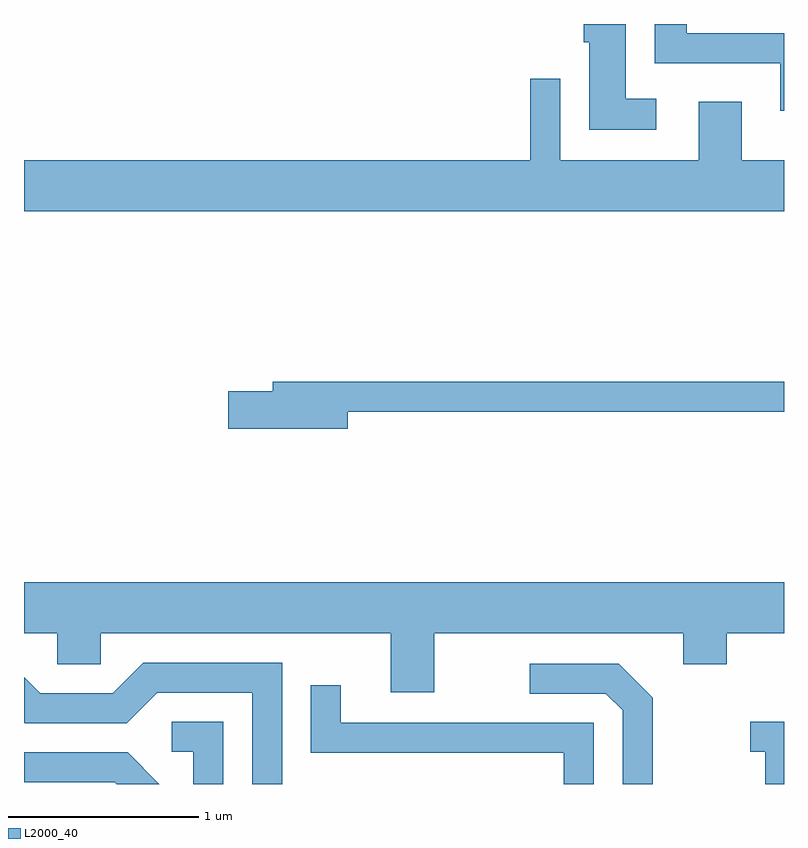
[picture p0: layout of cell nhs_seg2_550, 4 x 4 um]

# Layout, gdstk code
import gdstk
lib = gdstk.Library(unit=1e-6, precision=1e-09)
def P(c, l, *ps):  # polygons
    for p in ps: c.add(gdstk.Polygon(p, *l))
L2000_40 = (2000, 40)

nhs_seg2_550 = lib.new_cell('nhs_seg2_550')
P(nhs_seg2_550, L2000_40, [(205.611,993.754),(205.099,993.754),(205.099,993.802),(204.931,993.802),(204.931,993.596),(205.591,993.596),(205.591,993.346),(205.611,993.346)],
  [(204.938,993.409),(204.779,993.409),(204.779,993.802),(204.556,993.802),(204.556,993.706),(204.586,993.706),(204.586,993.246),(204.938,993.246)],
  [(205.611,993.084),(205.389,993.084),(205.389,993.394),(205.161,993.394),(205.161,993.084),(204.434,993.084),(204.434,993.513),(204.276,993.513),(204.276,993.084),(201.611,993.084),(201.611,992.816),(205.611,992.816)],
  [(203.314,991.761),(205.611,991.761),(205.611,991.919),(202.921,991.919),(202.921,991.869),(202.686,991.869),(202.686,991.671),(203.314,991.671)],
  [(203.769,990.596),(205.081,990.596),(205.081,990.431),(205.309,990.431),(205.309,990.596),(205.611,990.596),(205.611,990.864),(201.611,990.864),(201.611,990.596),(201.786,990.596),(201.786,990.431),(202.014,990.431),(202.014,990.596),(203.541,990.596),(203.541,990.286),(203.769,990.286)],
  [(202.969,990.439),(202.239,990.439),(202.079,990.279),(201.697,990.279),(201.611,990.365),(201.611,990.124),(201.614,990.121),(202.152,990.121),(202.312,990.281),(202.811,990.281),(202.811,989.802),(202.969,989.802)],
  [(204.919,990.257),(204.742,990.434),(204.273,990.434),(204.273,990.276),(204.674,990.276),(204.761,990.189),(204.761,989.802),(204.919,989.802)],
  [(204.609,990.124),(203.279,990.124),(203.279,990.323),(203.121,990.323),(203.121,989.966),(204.451,989.966),(204.451,989.802),(204.609,989.802)],
  [(202.659,990.129),(202.388,990.129),(202.388,989.971),(202.501,989.971),(202.501,989.802),(202.659,989.802)],
  [(205.611,990.129),(205.433,990.129),(205.433,989.971),(205.511,989.971),(205.511,989.802),(205.611,989.802)],
  [(202.157,989.969),(201.611,989.969),(201.611,989.811),(202.089,989.811),(202.098,989.802),(202.324,989.802)])

lib.write_gds('nhs_seg2_550.gds')
